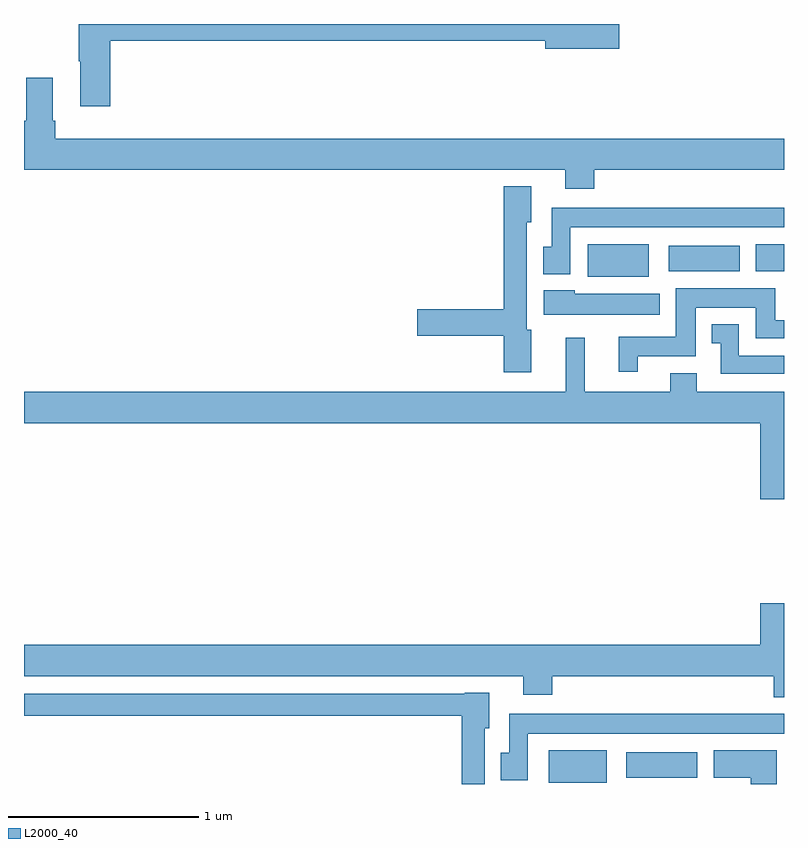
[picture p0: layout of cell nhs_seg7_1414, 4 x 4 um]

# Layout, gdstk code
import gdstk
lib = gdstk.Library(unit=1e-6, precision=1e-09)
def R(c, l, rs):  # rectangles x0, y0, x1, y1
    for r in rs: c.add(gdstk.rectangle(r[:2], r[2:], *l))
def P(c, l, *ps):  # polygons
    for p in ps: c.add(gdstk.Polygon(p, *l))
L2000_40 = (2000, 40)

nhs_seg7_1414 = lib.new_cell('nhs_seg7_1414')
R(nhs_seg7_1414, L2000_40, [(209.762,1048.007,210.067,1048.177), (210.171,1048.034,210.544,1048.168), (209.966,1050.671,210.289,1050.841), (210.393,1050.698,210.766,1050.832), (210.851,1050.698,211,1050.841)])
P(nhs_seg7_1414, L2000_40, [(207.455,1051.912),(209.744,1051.912),(209.744,1051.87),(210.133,1051.87),(210.133,1052),(207.289,1052),(207.289,1051.804),(207.296,1051.804),(207.296,1051.566),(207.455,1051.566)],
  [(210.002,1051.232),(211,1051.232),(211,1051.396),(207.164,1051.396),(207.164,1051.492),(207.151,1051.492),(207.151,1051.717),(207.011,1051.717),(207.011,1051.492),(207,1051.492),(207,1051.232),(209.849,1051.232),(209.849,1051.133),(210.002,1051.133)],
  [(209.671,1050.39),(209.647,1050.39),(209.647,1050.957),(209.671,1050.957),(209.671,1051.147),(209.525,1051.147),(209.525,1050.5),(209.07,1050.5),(209.07,1050.358),(209.525,1050.358),(209.525,1050.168),(209.671,1050.168)],
  [(209.874,1050.929),(211,1050.929),(211,1051.033),(209.777,1051.033),(209.777,1050.828),(209.732,1050.828),(209.732,1050.684),(209.874,1050.684)],
  [(210.229,1050.251),(210.535,1050.251),(210.535,1050.506),(210.851,1050.506),(210.851,1050.345),(211,1050.345),(211,1050.441),(210.955,1050.441),(210.955,1050.61),(210.431,1050.61),(210.431,1050.355),(210.131,1050.355),(210.131,1050.171),(210.229,1050.171)],
  [(210.346,1050.58),(209.898,1050.58),(209.898,1050.598),(209.736,1050.598),(209.736,1050.47),(210.346,1050.47)],
  [(211,1050.255),(210.762,1050.255),(210.762,1050.421),(210.62,1050.421),(210.62,1050.321),(210.666,1050.321),(210.666,1050.159),(211,1050.159)],
  [(211,1050.064),(210.541,1050.064),(210.541,1050.163),(210.401,1050.163),(210.401,1050.064),(209.951,1050.064),(209.951,1050.349),(209.852,1050.349),(209.852,1050.064),(207,1050.064),(207,1049.9),(210.875,1049.9),(210.875,1049.499),(211,1049.499)],
  [(211,1048.951),(210.875,1048.951),(210.875,1048.732),(207,1048.732),(207,1048.568),(209.627,1048.568),(209.627,1048.469),(209.78,1048.469),(209.78,1048.568),(210.947,1048.568),(210.947,1048.457),(211,1048.457)],
  [(209.425,1048.293),(209.449,1048.293),(209.449,1048.48),(209.319,1048.48),(209.319,1048.476),(207,1048.476),(207,1048.36),(209.303,1048.36),(209.303,1048),(209.425,1048)],
  [(209.652,1048.265),(211,1048.265),(211,1048.369),(209.555,1048.369),(209.555,1048.164),(209.51,1048.164),(209.51,1048.02),(209.652,1048.02)],
  [(210.961,1048.177),(210.629,1048.177),(210.629,1048.034),(210.824,1048.034),(210.824,1048),(210.961,1048)])

lib.write_gds('nhs_seg7_1414.gds')
